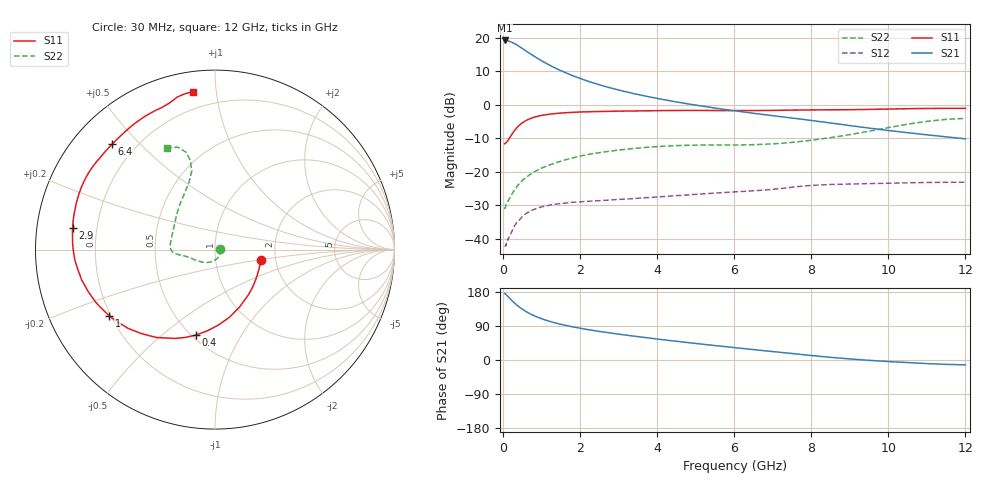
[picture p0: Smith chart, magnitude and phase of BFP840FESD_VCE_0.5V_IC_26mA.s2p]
! Infineon Technologies  Discrete & RF Semiconductors
! BFP840FESD
! VCE =  0.5 V,  IC =  26 mA
! Common Emitter S-Parameters:  May 2012
# GHz  S  MA  R  50
!  f  S11  S21  S12  S22
! GHz  MAG  ANG  MAG  ANG  MAG  ANG  MAG  ANG
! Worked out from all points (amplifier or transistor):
!   103 points, 30 MHz to 12 GHz, reference 50 ohm
!   highest |S21| = 19.2 dB at 30 MHz (marker M1)
!   |S21| within 3 dB of that: start of sweep to 568.6 MHz
!   unconditionally stable (mu >= 1): start of sweep to end of sweep
!   at 400 MHz: K = 2.75, MAG = 18.8 dB, |S12| = -34.6 dB
!   at 3.7 GHz: K = 2.95, MAG = 7.6 dB, |S12| = -27.8 dB
!   at 12 GHz: K = 3.51, MAG = -1.9 dB, |S12| = -23.1 dB
!   S11 on the Smith chart (normalised r, x): 30 MHz: 1.67, -0.20; 400 MHz: 0.52, -0.66; 1 GHz: 0.19, -0.28; 2.9 GHz: 0.11, +0.07; 6.4 GHz: 0.12, +0.42; 12 GHz: 0.11, +0.86
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0.03  0.2621 -12.3  9.172 175.7  0.0077 16.0  0.0276 1.7
0.04  0.2633 -16.2  9.165 174.6  0.0077 16.6  0.0289 -3.3
0.05  0.2651 -20.1  9.131 174.8  0.0078 18.3  0.0289 -9.8
0.13  0.3013 -47.8  8.992 166.1  0.01 32.4  0.0371 -41.4
0.25  0.3856 -78.0  8.446 153.9  0.014 42.7  0.0492 -73.9
0.35  0.4555 -95.6  7.853 144.8  0.0175 41.9  0.0598 -92.2
0.4  0.4884 -102.7  7.523 140.7  0.0186 42.2  0.0652 -99.3
0.5  0.5431 -114.3  6.905 133.4  0.0216 40.7  0.0747 -111.0
0.7  0.623 -131.4  5.786 121.5  0.0258 37.3  0.0913 -129.1
0.8  0.6532 -137.8  5.316 116.7  0.0274 35.3  0.0995 -136.0
1  0.6961 -148.1  4.526 108.6  0.0299 32.4  0.1138 -146.0
1.2  0.7253 -155.9  3.914 102.0  0.0316 30.2  0.1265 -153.3
1.4  0.7456 -162.1  3.428 96.5  0.033 28.0  0.1383 -158.8
1.7  0.7664 -169.6  2.878 89.5  0.0344 26.3  0.1553 -164.5
2.1  0.7847 -177.1  2.356 81.8  0.0358 24.9  0.176 -168.4
2.9  0.8025 171.4  1.718 69.5  0.0382 24.7  0.2075 -172.5
4.1  0.8197 157.3  1.215 54.1  0.0423 25.6  0.2393 -177.5
6.1  0.8198 137.5  0.802 31.6  0.0502 25.7  0.2515 164.8
6.4  0.8207 134.3  0.761 28.4  0.0515 25.7  0.253 160.5
8.5  0.843 113.5  0.535 7.0  0.0644 20.5  0.3232 126.6
10.5  0.8752 104.0  0.383 -6.8  0.0682 14.7  0.5136 105.5
12  0.8856 98.0  0.31 -12.8  0.0697 13.2  0.6273 115.0
